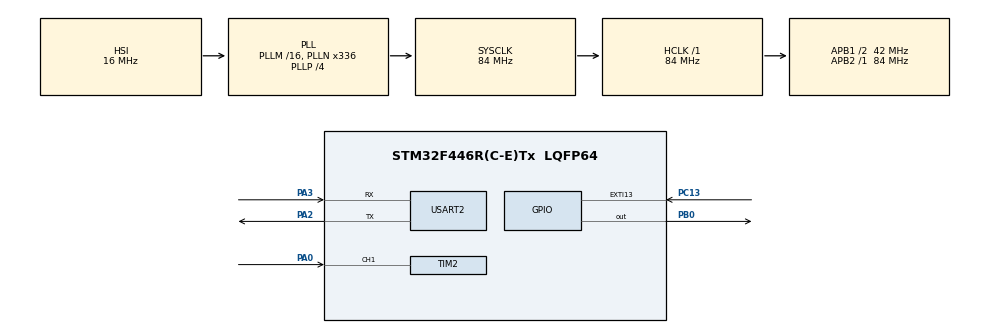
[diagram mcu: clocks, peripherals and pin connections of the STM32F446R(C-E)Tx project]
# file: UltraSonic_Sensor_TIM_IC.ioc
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FREERTOS.Tasks01=defaultTask,0,128,StartDefaultTask,Default,NULL,Dynamic,NULL,NULL
Mcu.Family=STM32F4
Mcu.Name=STM32F446R(C-E)Tx
Mcu.Package=LQFP64
NVIC.EXTI15_10_IRQn=true\:5\:0\:false\:false\:true\:true\:true\:true\:true
NVIC.PriorityGroup=NVIC_PRIORITYGROUP_4
NVIC.TIM2_IRQn=true\:5\:0\:false\:false\:true\:true\:true\:true\:true
NVIC.USART2_IRQn=true\:5\:0\:false\:false\:true\:true\:true\:true\:true
PA0-WKUP.Signal=S_TIM2_CH1_ETR
PA2.Mode=Asynchronous
PA2.Signal=USART2_TX
PA3.Mode=Asynchronous
PA3.Signal=USART2_RX
PB0.Signal=GPIO_Output
PC13.Signal=GPXTI13
ProjectManager.HeapSize=0x200
ProjectManager.StackSize=0x400
ProjectManager.TargetToolchain=STM32CubeIDE
RCC.AHBFreq_Value=84000000
RCC.APB1CLKDivider=RCC_HCLK_DIV2
RCC.APB1Freq_Value=42000000
RCC.APB1TimFreq_Value=84000000
RCC.APB2Freq_Value=84000000
RCC.APB2TimFreq_Value=84000000
RCC.CortexFreq_Value=84000000
RCC.FLatency-AdvancedSettings=FLASH_LATENCY_2
RCC.HCLKFreq_Value=84000000
RCC.HSE_VALUE=8000000
RCC.HSI_VALUE=16000000
RCC.LSE_VALUE=32768
RCC.PLLN=336
RCC.PLLP=RCC_PLLP_DIV4
RCC.SYSCLKFreq_VALUE=84000000
RCC.SYSCLKSource=RCC_SYSCLKSOURCE_PLLCLK
RCC.USBFreq_Value=168000000
RCC.VCOOutputFreq_Value=336000000
SH.S_TIM2_CH1_ETR.0=TIM2_CH1,Input_Capture1_from_TI1
TIM2.Channel-Input_Capture1_from_TI1=TIM_CHANNEL_1
TIM2.Prescaler=84-1
USART2.VirtualMode=VM_ASYNC
VP_FREERTOS_VS_CMSIS_V1.Mode=CMSIS_V1
board=NUCLEO-F446RE

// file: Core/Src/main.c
/* USER CODE BEGIN Header */
/**
  ******************************************************************************
  * @file           : main.c
  * @brief          : Main program body
  ******************************************************************************
  * @attention
  *
  * Copyright (c) 2026 STMicroelectronics.
  * All rights reserved.
  *
  * This software is licensed under terms that can be found in the LICENSE file
  * in the root directory of this software component.
  * If no LICENSE file comes with this software, it is provided AS-IS.
  *
  ******************************************************************************
  */
/* USER CODE END Header */
#include "main.h"
#include "cmsis_os.h"

/* USER CODE BEGIN Includes */
#include<stdio.h>
#include<string.h>

/* USER CODE END Includes */

TIM_HandleTypeDef htim2;

UART_HandleTypeDef huart2;

/* USER CODE BEGIN PV */
uint32_t icVal1 = 0, icVal2 = 0;
uint8_t isFirstCaptured = 0;
int distance = 0;
char buffer[22];

/* USER CODE END PV */

void SystemClock_Config(void);
static void MX_GPIO_Init(void);
static void MX_TIM2_Init(void);
static void MX_USART2_UART_Init(void);

/* USER CODE BEGIN 0 */
TaskHandle_t ProcessTrigger_handle;

void ProcessTrigger(void *arg){

	while(1){
		// wait for the tasknotify
		ulTaskNotifyTake(pdTRUE, portMAX_DELAY);

		// Send TRIG pulse to PB0
		HAL_GPIO_WritePin(GPIOB, GPIO_PIN_0, GPIO_PIN_RESET);
		HAL_Delay(2);

		// send a pulse
		HAL_GPIO_WritePin(GPIOB, GPIO_PIN_0, GPIO_PIN_SET);
		HAL_Delay(1); // >10 µs
		HAL_GPIO_WritePin(GPIOB, GPIO_PIN_0, GPIO_PIN_RESET);

		snprintf(buffer, sizeof(buffer), "Distance: %d cm\r\n", distance);
		HAL_UART_Transmit(&huart2, (uint8_t *)buffer, strlen(buffer), 10);

		vTaskDelay(pdMS_TO_TICKS(1000));
	}
}

void HAL_GPIO_EXTI_Callback(uint16_t GPIO_Pin){
	if(GPIO_Pin == GPIO_PIN_13){
		BaseType_t pxHigherPriorityTaskWoken = pdFALSE;
		vTaskNotifyGiveFromISR(ProcessTrigger_handle, &pxHigherPriorityTaskWoken);
		portYIELD_FROM_ISR(pxHigherPriorityTaskWoken);
	}
}
/* USER CODE END 0 */

int main(void)
{

  /* MCU Configuration--------------------------------------------------------*/

  /* Reset of all peripherals, Initializes the Flash interface and the Systick. */
  HAL_Init();

  /* Configure the system clock */
  SystemClock_Config();

  /* Initialize all configured peripherals */
  MX_GPIO_Init();
  MX_TIM2_Init();
  MX_USART2_UART_Init();

  /* USER CODE BEGIN 2 */

  // create task
  xTaskCreate(ProcessTrigger, "trigger", 128, NULL, 2, &ProcessTrigger_handle);

  // Start Input Capture interrupt
  HAL_TIM_IC_Start_IT(&htim2, TIM_CHANNEL_1);

  vTaskStartScheduler();
  /* We should never get here as control is now taken by the scheduler */

  /* USER CODE END 2 */

  /* Infinite loop */
  while (1)
  {

  }
}

void SystemClock_Config(void)
{
  RCC_OscInitTypeDef RCC_OscInitStruct = {0};
  RCC_ClkInitTypeDef RCC_ClkInitStruct = {0};

  /** Configure the main internal regulator output voltage
  */
  __HAL_RCC_PWR_CLK_ENABLE();
  __HAL_PWR_VOLTAGESCALING_CONFIG(PWR_REGULATOR_VOLTAGE_SCALE3);

  /** Initializes the RCC Oscillators according to the specified parameters
  * in the RCC_OscInitTypeDef structure.
  */
  RCC_OscInitStruct.OscillatorType = RCC_OSCILLATORTYPE_HSI;
  RCC_OscInitStruct.HSIState = RCC_HSI_ON;
  RCC_OscInitStruct.HSICalibrationValue = RCC_HSICALIBRATION_DEFAULT;
  RCC_OscInitStruct.PLL.PLLState = RCC_PLL_ON;
  RCC_OscInitStruct.PLL.PLLSource = RCC_PLLSOURCE_HSI;
  RCC_OscInitStruct.PLL.PLLM = 16;
  RCC_OscInitStruct.PLL.PLLN = 336;
  RCC_OscInitStruct.PLL.PLLP = RCC_PLLP_DIV4;
  RCC_OscInitStruct.PLL.PLLQ = 2;
  RCC_OscInitStruct.PLL.PLLR = 2;
  if (HAL_RCC_OscConfig(&RCC_OscInitStruct) != HAL_OK)
  {
    Error_Handler();
  }

  /** Initializes the CPU, AHB and APB buses clocks
  */
  RCC_ClkInitStruct.ClockType = RCC_CLOCKTYPE_HCLK|RCC_CLOCKTYPE_SYSCLK
                              |RCC_CLOCKTYPE_PCLK1|RCC_CLOCKTYPE_PCLK2;
  RCC_ClkInitStruct.SYSCLKSource = RCC_SYSCLKSOURCE_PLLCLK;
  RCC_ClkInitStruct.AHBCLKDivider = RCC_SYSCLK_DIV1;
  RCC_ClkInitStruct.APB1CLKDivider = RCC_HCLK_DIV2;
  RCC_ClkInitStruct.APB2CLKDivider = RCC_HCLK_DIV1;

  if (HAL_RCC_ClockConfig(&RCC_ClkInitStruct, FLASH_LATENCY_2) != HAL_OK)
  {
    Error_Handler();
  }
}

static void MX_TIM2_Init(void)
{

  TIM_MasterConfigTypeDef sMasterConfig = {0};
  TIM_IC_InitTypeDef sConfigIC = {0};

  htim2.Instance = TIM2;
  htim2.Init.Prescaler = 84-1;
  htim2.Init.CounterMode = TIM_COUNTERMODE_UP;
  htim2.Init.Period = 4294967295;
  htim2.Init.ClockDivision = TIM_CLOCKDIVISION_DIV1;
  htim2.Init.AutoReloadPreload = TIM_AUTORELOAD_PRELOAD_DISABLE;
  if (HAL_TIM_IC_Init(&htim2) != HAL_OK)
  {
    Error_Handler();
  }
  sMasterConfig.MasterOutputTrigger = TIM_TRGO_RESET;
  sMasterConfig.MasterSlaveMode = TIM_MASTERSLAVEMODE_DISABLE;
  if (HAL_TIMEx_MasterConfigSynchronization(&htim2, &sMasterConfig) != HAL_OK)
  {
    Error_Handler();
  }
  sConfigIC.ICPolarity = TIM_INPUTCHANNELPOLARITY_RISING;
  sConfigIC.ICSelection = TIM_ICSELECTION_DIRECTTI;
  sConfigIC.ICPrescaler = TIM_ICPSC_DIV1;
  sConfigIC.ICFilter = 0;
  if (HAL_TIM_IC_ConfigChannel(&htim2, &sConfigIC, TIM_CHANNEL_1) != HAL_OK)
  {
    Error_Handler();
  }

}

static void MX_USART2_UART_Init(void)
{

  huart2.Instance = USART2;
  huart2.Init.BaudRate = 115200;
  huart2.Init.WordLength = UART_WORDLENGTH_8B;
  huart2.Init.StopBits = UART_STOPBITS_1;
  huart2.Init.Parity = UART_PARITY_NONE;
  huart2.Init.Mode = UART_MODE_TX_RX;
  huart2.Init.HwFlowCtl = UART_HWCONTROL_NONE;
  huart2.Init.OverSampling = UART_OVERSAMPLING_16;
  if (HAL_UART_Init(&huart2) != HAL_OK)
  {
    Error_Handler();
  }

}

static void MX_GPIO_Init(void)
{
  GPIO_InitTypeDef GPIO_InitStruct = {0};

  /* GPIO Ports Clock Enable */
  __HAL_RCC_GPIOC_CLK_ENABLE();
  __HAL_RCC_GPIOA_CLK_ENABLE();
  __HAL_RCC_GPIOB_CLK_ENABLE();

  /*Configure GPIO pin Output Level */
  HAL_GPIO_WritePin(GPIOB, GPIO_PIN_0, GPIO_PIN_RESET);

  /*Configure GPIO pin : PC13 */
  GPIO_InitStruct.Pin = GPIO_PIN_13;
  GPIO_InitStruct.Mode = GPIO_MODE_IT_RISING;
  GPIO_InitStruct.Pull = GPIO_NOPULL;
  HAL_GPIO_Init(GPIOC, &GPIO_InitStruct);

  /*Configure GPIO pin : PB0 */
  GPIO_InitStruct.Pin = GPIO_PIN_0;
  GPIO_InitStruct.Mode = GPIO_MODE_OUTPUT_PP;
  GPIO_InitStruct.Pull = GPIO_NOPULL;
  GPIO_InitStruct.Speed = GPIO_SPEED_FREQ_LOW;
  HAL_GPIO_Init(GPIOB, &GPIO_InitStruct);

  /* EXTI interrupt init*/
  HAL_NVIC_SetPriority(EXTI15_10_IRQn, 5, 0);
  HAL_NVIC_EnableIRQ(EXTI15_10_IRQn);

}

/* USER CODE BEGIN 4 */

/* Input Capture Callback */
void HAL_TIM_IC_CaptureCallback(TIM_HandleTypeDef *htim)
{
  if(htim->Channel == HAL_TIM_ACTIVE_CHANNEL_1)
  {
    if(isFirstCaptured == 0)
    {
      icVal1 = HAL_TIM_ReadCapturedValue(htim, TIM_CHANNEL_1); // Rising edge
      __HAL_TIM_SET_CAPTUREPOLARITY(htim, TIM_CHANNEL_1, TIM_INPUTCHANNELPOLARITY_FALLING);
      isFirstCaptured = 1;
    }
    else if(isFirstCaptured == 1)
    {
      icVal2 = HAL_TIM_ReadCapturedValue(htim, TIM_CHANNEL_1); // Falling edge
      __HAL_TIM_SET_CAPTUREPOLARITY(htim, TIM_CHANNEL_1, TIM_INPUTCHANNELPOLARITY_RISING);
      isFirstCaptured = 0;

      uint32_t pulseWidth = (icVal2 > icVal1) ? (icVal2 - icVal1) : ((htim->Instance->ARR - icVal1) + icVal2);
      distance = (int)((pulseWidth * 0.0343) / 2); // cm
//      distance = 5;
    }
  }
}
/* USER CODE END 4 */

void StartDefaultTask(void const * argument)
{
  for(;;)
  {
    osDelay(1);
  }
}

void Error_Handler(void)
{
  __disable_irq();
  while (1)
  {
  }
}
